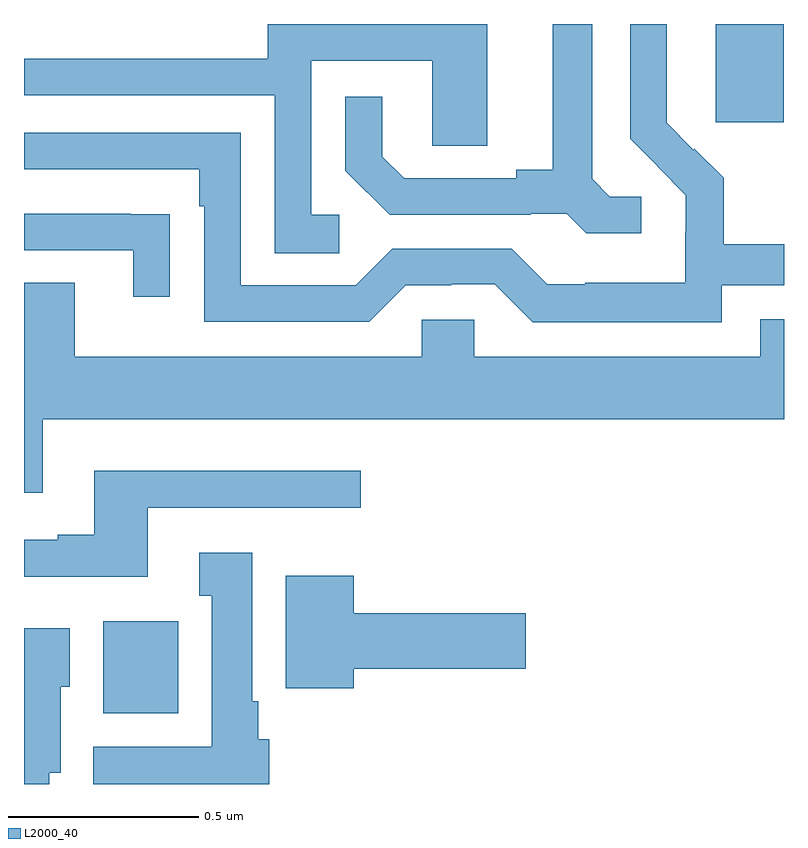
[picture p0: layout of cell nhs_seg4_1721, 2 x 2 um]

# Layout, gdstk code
import gdstk
lib = gdstk.Library(unit=1e-6, precision=1e-09)
def R(c, l, rs):  # rectangles x0, y0, x1, y1
    for r in rs: c.add(gdstk.rectangle(r[:2], r[2:], *l))
def P(c, l, *ps):  # polygons
    for p in ps: c.add(gdstk.Polygon(p, *l))
L2000_40 = (2000, 40)

nhs_seg4_1721 = lib.new_cell('nhs_seg4_1721')
R(nhs_seg4_1721, L2000_40, [(132.209,756.086,132.406,756.328), (133.82,757.641,133.999,757.9)])
P(nhs_seg4_1721, L2000_40, [(132.829,757.398),(132.756,757.398),(132.756,757.803),(133.074,757.803),(133.074,757.579),(133.219,757.579),(133.219,757.899),(132.895,757.899),(132.895,757.9),(132.641,757.9),(132.641,757.809),(132.001,757.809),(132.001,757.713),(132.66,757.713),(132.66,757.297),(132.829,757.297)],
  [(133.836,757.212),(134,757.212),(134,757.321),(133.841,757.321),(133.841,757.495),(133.764,757.572),(133.761,757.569),(133.691,757.64),(133.691,757.762),(133.692,757.762),(133.692,757.9),(133.596,757.9),(133.596,757.598),(133.669,757.525),(133.668,757.524),(133.742,757.45),(133.742,757.353),(133.74,757.353),(133.74,757.219),(133.477,757.219),(133.477,757.215),(133.377,757.215),(133.284,757.308),(132.969,757.308),(132.873,757.212),(132.57,757.212),(132.57,757.614),(132,757.614),(132,757.518),(132.461,757.518),(132.461,757.421),(132.474,757.421),(132.474,757.116),(132.909,757.116),(133.005,757.212),(133.124,757.212),(133.124,757.215),(133.239,757.215),(133.339,757.115),(133.836,757.115)],
  [(133.624,757.446),(133.542,757.446),(133.495,757.493),(133.495,757.9),(133.391,757.9),(133.391,757.517),(133.295,757.517),(133.295,757.494),(133,757.494),(132.943,757.551),(132.943,757.708),(132.846,757.708),(132.846,757.514),(132.962,757.398),(133.334,757.398),(133.334,757.401),(133.428,757.401),(133.48,757.349),(133.624,757.349)],
  [(132.383,757.4),(132.281,757.4),(132.281,757.401),(132,757.401),(132,757.305),(132.287,757.305),(132.287,757.182),(132.383,757.182)],
  [(132.049,756.86),(134,756.86),(134,757.123),(133.937,757.123),(133.937,757.024),(133.185,757.024),(133.185,757.122),(133.047,757.122),(133.047,757.024),(132.133,757.024),(132.133,757.219),(132,757.219),(132,756.666),(132.049,756.666)],
  [(132.325,756.627),(132.886,756.627),(132.886,756.724),(132.185,756.724),(132.185,756.556),(132.089,756.556),(132.089,756.543),(132,756.543),(132,756.446),(132.325,756.446)],
  [(132.646,756.018),(132.616,756.018),(132.616,756.118),(132.601,756.118),(132.601,756.508),(132.461,756.508),(132.461,756.395),(132.494,756.395),(132.494,755.998),(132.182,755.998),(132.182,755.9),(132.646,755.9)],
  [(132.868,756.203),(133.321,756.203),(133.321,756.35),(132.868,756.35),(132.868,756.448),(132.689,756.448),(132.689,756.152),(132.868,756.152)],
  [(132.067,755.93),(132.097,755.93),(132.097,756.156),(132.121,756.156),(132.121,756.31),(132,756.31),(132,755.9),(132.067,755.9)])

lib.write_gds('nhs_seg4_1721.gds')
